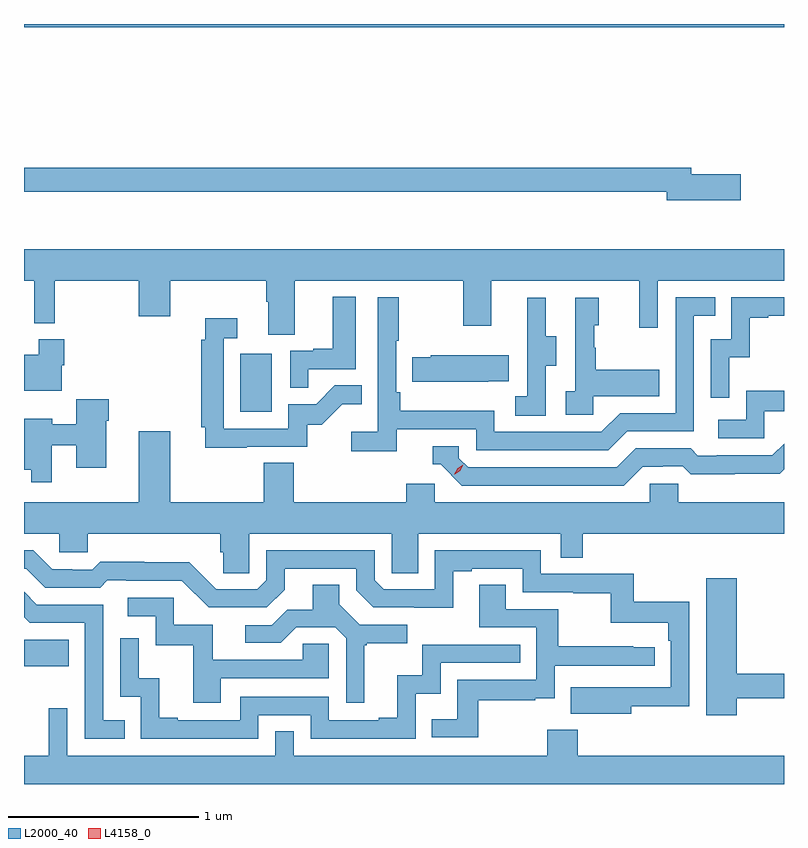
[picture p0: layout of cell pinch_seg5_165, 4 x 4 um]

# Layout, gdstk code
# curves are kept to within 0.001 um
import gdstk
lib = gdstk.Library(unit=1e-6, precision=1e-09)
def R(c, l, rs):  # rectangles x0, y0, x1, y1
    for r in rs: c.add(gdstk.rectangle(r[:2], r[2:], *l))
def P(c, l, *ps):  # polygons
    for p in ps: c.add(gdstk.Polygon(p, *l))
L2000_40 = (2000, 40)
L4158_0 = (4158, 0)

pinch_seg5_165 = lib.new_cell('pinch_seg5_165')
R(pinch_seg5_165, L2000_40, [(1099.467,876.041,1099.703,876.181), (1100.606,877.38,1100.77,877.687), (1099.467,879.404,1103.467,879.422)])
P(pinch_seg5_165, L2000_40, [(1103.239,878.63),(1102.978,878.63),(1102.978,878.666),(1099.467,878.666),(1099.467,878.538),(1102.85,878.538),(1102.85,878.495),(1103.239,878.495)],
  [(1100.893,878.072),(1101.778,878.072),(1101.778,877.833),(1101.925,877.833),(1101.925,878.072),(1102.706,878.072),(1102.706,877.824),(1102.803,877.824),(1102.803,878.072),(1103.467,878.072),(1103.467,878.236),(1099.467,878.236),(1099.467,878.072),(1099.52,878.072),(1099.52,877.847),(1099.63,877.847),(1099.63,878.072),(1100.072,878.072),(1100.072,877.884),(1100.236,877.884),(1100.236,878.072),(1100.741,878.072),(1100.741,877.96),(1100.753,877.96),(1100.753,877.786),(1100.893,877.786)],
  [(1100.963,877.605),(1101.214,877.605),(1101.214,877.987),(1101.092,877.987),(1101.092,877.714),(1100.989,877.714),(1100.989,877.701),(1100.868,877.701),(1100.868,877.507),(1100.963,877.507)],
  [(1101.428,877.29),(1101.846,877.29),(1101.846,877.179),(1102.543,877.179),(1102.642,877.278),(1102.992,877.278),(1102.992,877.887),(1103.105,877.887),(1103.105,877.983),(1102.896,877.983),(1102.896,877.374),(1102.605,877.374),(1102.506,877.275),(1101.942,877.275),(1101.942,877.387),(1101.446,877.387),(1101.446,877.483),(1101.426,877.483),(1101.426,877.756),(1101.439,877.756),(1101.439,877.984),(1101.33,877.984),(1101.33,877.276),(1101.189,877.276),(1101.189,877.174),(1101.428,877.174)],
  [(1103.178,877.667),(1103.288,877.667),(1103.288,877.875),(1103.383,877.875),(1103.383,877.887),(1103.467,877.887),(1103.467,877.983),(1103.19,877.983),(1103.19,877.764),(1103.082,877.764),(1103.082,877.455),(1103.178,877.455)],
  [(1102.212,877.624),(1102.267,877.624),(1102.267,877.779),(1102.213,877.779),(1102.213,877.981),(1102.115,877.981),(1102.115,877.767),(1102.116,877.767),(1102.116,877.463),(1102.053,877.463),(1102.053,877.36),(1102.212,877.36)],
  [(1102.464,877.463),(1102.811,877.463),(1102.811,877.603),(1102.477,877.603),(1102.477,877.718),(1102.467,877.718),(1102.467,877.836),(1102.492,877.836),(1102.492,877.981),(1102.368,877.981),(1102.368,877.49),(1102.317,877.49),(1102.317,877.365),(1102.464,877.365)],
  [(1100.639,877.197),(1100.958,877.197),(1100.958,877.314),(1101.034,877.314),(1101.141,877.421),(1101.245,877.421),(1101.245,877.52),(1101.102,877.52),(1101.004,877.422),(1100.859,877.422),(1100.859,877.293),(1100.517,877.293),(1100.517,877.767),(1100.59,877.767),(1100.59,877.873),(1100.42,877.873),(1100.42,877.76),(1100.401,877.76),(1100.401,877.3),(1100.42,877.3),(1100.42,877.192),(1100.639,877.192)],
  [(1099.666,877.626),(1099.679,877.626),(1099.679,877.762),(1099.544,877.762),(1099.544,877.681),(1099.467,877.681),(1099.467,877.493),(1099.666,877.493)],
  [(1101.911,877.541),(1102.019,877.541),(1102.019,877.678),(1101.609,877.678),(1101.609,877.668),(1101.511,877.668),(1101.511,877.538),(1101.911,877.538)],
  [(1103.364,877.383),(1103.467,877.383),(1103.467,877.492),(1103.268,877.492),(1103.268,877.338),(1103.121,877.338),(1103.121,877.242),(1103.364,877.242)],
  [(1099.614,877.206),(1099.742,877.206),(1099.742,877.086),(1099.9,877.086),(1099.9,877.334),(1099.913,877.334),(1099.913,877.447),(1099.742,877.447),(1099.742,877.315),(1099.615,877.315),(1099.615,877.345),(1099.467,877.345),(1099.467,877.076),(1099.506,877.076),(1099.506,877.011),(1099.614,877.011)],
  [(1100.652,876.74),(1101.402,876.74),(1101.402,876.532),(1101.541,876.532),(1101.541,876.74),(1102.293,876.74),(1102.293,876.613),(1102.409,876.613),(1102.409,876.74),(1103.467,876.74),(1103.467,876.904),(1102.911,876.904),(1102.911,877.002),(1102.761,877.002),(1102.761,876.904),(1101.63,876.904),(1101.63,877.002),(1101.479,877.002),(1101.479,876.904),(1100.888,876.904),(1100.888,877.112),(1100.728,877.112),(1100.728,876.904),(1100.236,876.904),(1100.236,877.279),(1100.072,877.279),(1100.072,876.904),(1099.467,876.904),(1099.467,876.74),(1099.653,876.74),(1099.653,876.642),(1099.803,876.642),(1099.803,876.74),(1100.501,876.74),(1100.501,876.642),(1100.515,876.642),(1100.515,876.532),(1100.652,876.532)],
  [(1102.723,877.092),(1102.83,877.092),(1102.83,877.095),(1102.933,877.095),(1102.975,877.053),(1103.208,877.053),(1103.208,877.055),(1103.444,877.055),(1103.467,877.078),(1103.467,877.213),(1103.406,877.152),(1103.113,877.152),(1103.113,877.149),(1103.014,877.149),(1102.975,877.188),(1102.686,877.188),(1102.587,877.089),(1101.804,877.089),(1101.756,877.137),(1101.756,877.2),(1101.617,877.2),(1101.617,877.104),(1101.66,877.104),(1101.771,876.993),(1102.624,876.993)],
  [(1102.663,875.83),(1102.968,875.83),(1102.968,876.382),(1102.675,876.382),(1102.675,876.528),(1102.188,876.528),(1102.188,876.651),(1101.63,876.651),(1101.63,876.447),(1101.36,876.447),(1101.312,876.495),(1101.312,876.651),(1100.742,876.651),(1100.742,876.495),(1100.694,876.447),(1100.478,876.447),(1100.336,876.589),(1100.1,876.589),(1100.1,876.592),(1099.867,876.592),(1099.825,876.549),(1099.722,876.549),(1099.722,876.552),(1099.615,876.552),(1099.516,876.651),(1099.467,876.651),(1099.467,876.555),(1099.479,876.555),(1099.578,876.456),(1099.867,876.456),(1099.906,876.495),(1100.005,876.495),(1100.005,876.492),(1100.298,876.492),(1100.439,876.351),(1100.745,876.351),(1100.839,876.445),(1100.839,876.555),(1101.216,876.555),(1101.216,876.441),(1101.306,876.351),(1101.727,876.35),(1101.727,876.543),(1101.823,876.543),(1101.823,876.555),(1102.092,876.555),(1102.092,876.432),(1102.357,876.432),(1102.357,876.427),(1102.554,876.427),(1102.554,876.272),(1102.859,876.272),(1102.859,876.176),(1102.872,876.176),(1102.872,875.931),(1102.345,875.932),(1102.345,875.792),(1102.663,875.792)],
  [(1103.218,875.874),(1103.467,875.874),(1103.467,876.002),(1103.218,876.002),(1103.218,876.505),(1103.057,876.505),(1103.057,875.784),(1103.218,875.784)],
  [(1101.859,875.862),(1102.157,875.862),(1102.157,875.873),(1102.26,875.873),(1102.26,876.045),(1102.786,876.045),(1102.786,876.141),(1102.673,876.141),(1102.673,876.146),(1102.28,876.146),(1102.28,876.342),(1102.003,876.342),(1102.003,876.47),(1101.863,876.47),(1101.863,876.246),(1102.164,876.246),(1102.164,875.97),(1101.748,875.97),(1101.748,875.764),(1101.613,875.764),(1101.613,875.667),(1101.859,875.667)],
  [(1101.259,876.153),(1101.271,876.153),(1101.271,876.164),(1101.484,876.164),(1101.484,876.261),(1101.234,876.261),(1101.127,876.368),(1101.127,876.47),(1100.987,876.47),(1100.987,876.338),(1100.852,876.338),(1100.772,876.258),(1100.631,876.258),(1100.631,876.165),(1100.818,876.165),(1100.899,876.246),(1101.105,876.246),(1101.162,876.189),(1101.162,875.85),(1101.259,875.85)],
  [(1099.997,875.757),(1099.884,875.757),(1099.884,876.366),(1099.534,876.366),(1099.467,876.433),(1099.467,876.3),(1099.497,876.27),(1099.788,876.27),(1099.788,875.661),(1099.997,875.661)],
  [(1100.503,875.979),(1101.072,875.979),(1101.072,876.159),(1100.935,876.159),(1100.935,876.075),(1100.461,876.075),(1100.461,876.261),(1100.256,876.261),(1100.256,876.402),(1100.013,876.402),(1100.013,876.306),(1100.16,876.306),(1100.16,876.153),(1100.359,876.153),(1100.359,875.85),(1100.503,875.85)],
  [(1100.7,875.784),(1100.976,875.784),(1100.976,875.661),(1101.528,875.661),(1101.528,875.897),(1101.66,875.897),(1101.66,876.06),(1102.079,876.06),(1102.079,876.156),(1101.564,876.156),(1101.564,875.995),(1101.431,875.995),(1101.431,875.77),(1101.335,875.77),(1101.335,875.757),(1101.072,875.757),(1101.072,875.88),(1100.604,875.88),(1100.604,875.757),(1100.275,875.757),(1100.275,875.77),(1100.18,875.77),(1100.18,875.978),(1100.07,875.978),(1100.07,876.19),(1099.974,876.19),(1099.974,875.88),(1100.082,875.88),(1100.082,875.661),(1100.7,875.661)],
  [(1103.467,875.572),(1102.382,875.572),(1102.382,875.707),(1102.222,875.707),(1102.222,875.572),(1100.886,875.572),(1100.886,875.699),(1100.79,875.699),(1100.79,875.572),(1099.695,875.572),(1099.695,875.821),(1099.598,875.821),(1099.598,875.572),(1099.467,875.572),(1099.467,875.422),(1103.467,875.422)])
P(pinch_seg5_165, L4158_0, [(1101.732,877.051),(1101.732,877.051),(1101.749,877.084),(1101.78,877.103),(1101.78,877.103),(1101.78,877.102),(1101.764,877.07),(1101.733,877.051)])

lib.write_gds('pinch_seg5_165.gds')
